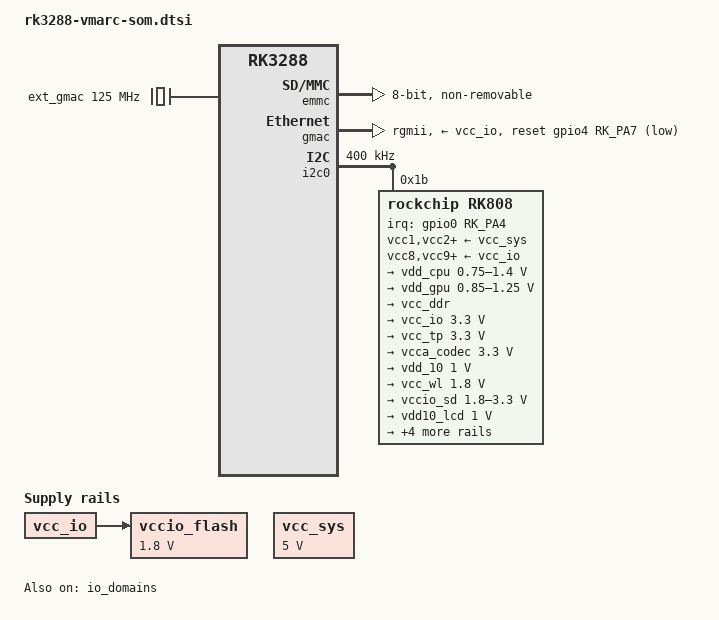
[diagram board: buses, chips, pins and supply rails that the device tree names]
// SPDX-License-Identifier: (GPL-2.0+ OR MIT)
/*
 * Copyright (c) 2019 Fuzhou Rockchip Electronics Co., Ltd
 * Copyright (c) 2019 Vamrs Limited
 * Copyright (c) 2019 Amarula Solutions(India)
 */

#include <dt-bindings/gpio/gpio.h>
#include <dt-bindings/pinctrl/rockchip.h>
#include <dt-bindings/pwm/pwm.h>

/ {
	compatible = "vamrs,rk3288-vmarc-som", "rockchip,rk3288";

	ext_gmac: external-gmac-clock {
		compatible = "fixed-clock";
		clock-frequency = <125000000>;
		clock-output-names = "ext_gmac";
		#clock-cells = <0>;
	};

	vccio_flash: vccio-flash-regulator {
		compatible = "regulator-fixed";
		regulator-name = "vccio_flash";
		regulator-min-microvolt = <1800000>;
		regulator-max-microvolt = <1800000>;
		startup-delay-us = <150>;
		vin-supply = <&vcc_io>;
	};

	vcc_sys: vsys-regulator {
		compatible = "regulator-fixed";
		regulator-name = "vcc_sys";
		regulator-min-microvolt = <5000000>;
		regulator-max-microvolt = <5000000>;
		regulator-always-on;
		regulator-boot-on;
	};
};

&emmc {
	bus-width = <8>;
	cap-mmc-highspeed;
	disable-wp;
	non-removable;
	pinctrl-names = "default";
	pinctrl-0 = <&emmc_clk &emmc_cmd &emmc_pwr &emmc_bus8>;
	status = "okay";
};

&gmac {
	assigned-clocks = <&cru SCLK_MAC>;
	assigned-clock-parents = <&ext_gmac>;
	clock_in_out = "input";
	phy-mode = "rgmii";
	phy-supply = <&vcc_io>;
	pinctrl-names = "default";
	pinctrl-0 = <&rgmii_pins>;
	snps,reset-gpio = <&gpio4 RK_PA7 GPIO_ACTIVE_HIGH>;
	snps,reset-active-low;
	snps,reset-delays-us = <0 10000 50000>;
	tx_delay = <0x30>;
	rx_delay = <0x10>;
	max-speed = <1000>;
};

&i2c0 {
	clock-frequency = <400000>;
	status = "okay";

	rk808: pmic@1b {
		compatible = "rockchip,rk808";
		reg = <0x1b>;
		interrupt-parent = <&gpio0>;
		interrupts = <RK_PA4 IRQ_TYPE_LEVEL_LOW>;
		pinctrl-names = "default";
		pinctrl-0 = <&pmic_int &global_pwroff>;
		rockchip,system-power-controller;
		wakeup-source;
		#clock-cells = <1>;
		clock-output-names = "rk808-clkout1", "rk808-clkout2";

		vcc1-supply = <&vcc_sys>;
		vcc2-supply = <&vcc_sys>;
		vcc3-supply = <&vcc_sys>;
		vcc4-supply = <&vcc_sys>;
		vcc6-supply = <&vcc_sys>;
		vcc7-supply = <&vcc_sys>;
		vcc8-supply = <&vcc_io>;
		vcc9-supply = <&vcc_io>;
		vcc10-supply = <&vcc_sys>;
		vcc11-supply = <&vcc_sys>;
		vcc12-supply = <&vcc_io>;
		vddio-supply = <&vcc_io>;

		regulators {
			vdd_cpu: DCDC_REG1 {
				regulator-always-on;
				regulator-boot-on;
				regulator-min-microvolt = <750000>;
				regulator-max-microvolt = <1400000>;
				regulator-name = "vdd_arm";
				regulator-state-mem {
					regulator-off-in-suspend;
				};
			};

			vdd_gpu: DCDC_REG2 {
				regulator-always-on;
				regulator-boot-on;
				regulator-min-microvolt = <850000>;
				regulator-max-microvolt = <1250000>;
				regulator-name = "vdd_gpu";
				regulator-ramp-delay = <6000>;
				regulator-state-mem {
					regulator-off-in-suspend;
				};
			};

			vcc_ddr: DCDC_REG3 {
				regulator-always-on;
				regulator-boot-on;
				regulator-name = "vcc_ddr";
				regulator-state-mem {
					regulator-on-in-suspend;
				};
			};

			vcc_io: DCDC_REG4 {
				regulator-always-on;
				regulator-boot-on;
				regulator-min-microvolt = <3300000>;
				regulator-max-microvolt = <3300000>;
				regulator-name = "vcc_io";
				regulator-state-mem {
					regulator-on-in-suspend;
					regulator-suspend-microvolt = <3300000>;
				};
			};

			vcc_tp: LDO_REG1 {
				regulator-always-on;
				regulator-boot-on;
				regulator-min-microvolt = <3300000>;
				regulator-max-microvolt = <3300000>;
				regulator-name = "vcc_tp";
				regulator-state-mem {
					regulator-off-in-suspend;
				};
			};

			vcca_codec: LDO_REG2 {
				regulator-always-on;
				regulator-boot-on;
				regulator-min-microvolt = <3300000>;
				regulator-max-microvolt = <3300000>;
				regulator-name = "vcca_codec";
				regulator-state-mem {
					regulator-on-in-suspend;
					regulator-suspend-microvolt = <3300000>;
				};
			};

			vdd_10: LDO_REG3 {
				regulator-always-on;
				regulator-boot-on;
				regulator-min-microvolt = <1000000>;
				regulator-max-microvolt = <1000000>;
				regulator-name = "vdd_10";
				regulator-state-mem {
					regulator-on-in-suspend;
					regulator-suspend-microvolt = <1000000>;
				};
			};

			vcc_wl: LDO_REG4 {
				regulator-always-on;
				regulator-boot-on;
				regulator-min-microvolt = <1800000>;
				regulator-max-microvolt = <1800000>;
				regulator-name = "vcc_wl";
				regulator-state-mem {
					regulator-on-in-suspend;
				};
			};

			vccio_sd: LDO_REG5 {
				regulator-always-on;
				regulator-boot-on;
				regulator-min-microvolt = <1800000>;
				regulator-max-microvolt = <3300000>;
				regulator-name = "vccio_sd";
				regulator-state-mem {
					regulator-on-in-suspend;
					regulator-suspend-microvolt = <3300000>;
				};
			};

			vdd10_lcd: LDO_REG6 {
				regulator-always-on;
				regulator-boot-on;
				regulator-min-microvolt = <1000000>;
				regulator-max-microvolt = <1000000>;
				regulator-name = "vdd10_lcd";
				regulator-state-mem {
					regulator-off-in-suspend;
				};
			};

			vcc_18: LDO_REG7 {
				regulator-always-on;
				regulator-boot-on;
				regulator-min-microvolt = <1800000>;
				regulator-max-microvolt = <1800000>;
				regulator-name = "vcc_18";
				regulator-state-mem {
					regulator-on-in-suspend;
					regulator-suspend-microvolt = <1800000>;
				};
			};

			vcc18_lcd: LDO_REG8 {
				regulator-always-on;
				regulator-boot-on;
				regulator-min-microvolt = <1800000>;
				regulator-max-microvolt = <1800000>;
				regulator-name = "vcc18_lcd";
				regulator-state-mem {
					regulator-off-in-suspend;
				};
			};

			vcc_sd: SWITCH_REG1 {
				regulator-always-on;
				regulator-boot-on;
				regulator-name = "vcc_sd";
				regulator-state-mem {
					regulator-off-in-suspend;
				};
			};

			vcc_lcd: SWITCH_REG2 {
				regulator-always-on;
				regulator-boot-on;
				regulator-name = "vcc_lcd";
				regulator-state-mem {
					regulator-off-in-suspend;
				};
			};
		};
	};
};

&io_domains {
	bb-supply = <&vcc_io>;
	flash0-supply = <&vccio_flash>;
	gpio1830-supply = <&vcc_18>;
	gpio30-supply = <&vcc_io>;
	sdcard-supply = <&vccio_sd>;
	status = "okay";
};

&pinctrl {
	pcfg_pull_none_drv_8ma: pcfg-pull-none-drv-8ma {
		drive-strength = <8>;
	};

	pcfg_pull_up_drv_8ma: pcfg-pull-up-drv-8ma {
		bias-pull-up;
		drive-strength = <8>;
	};

	pmic {
		pmic_int: pmic-int {
			rockchip,pins = <0 RK_PA4 RK_FUNC_GPIO &pcfg_pull_up>;
		};
	};

	sdmmc {
		sdmmc_bus4: sdmmc-bus4 {
			rockchip,pins =
				<6 RK_PC0 1 &pcfg_pull_up_drv_8ma>,
				<6 RK_PC1 1 &pcfg_pull_up_drv_8ma>,
				<6 RK_PC2 1 &pcfg_pull_up_drv_8ma>,
				<6 RK_PC3 1 &pcfg_pull_up_drv_8ma>;
		};

		sdmmc_clk: sdmmc-clk {
			rockchip,pins =
				<6 RK_PC4 1 &pcfg_pull_none_drv_8ma>;
		};

		sdmmc_cmd: sdmmc-cmd {
			rockchip,pins =
				<6 RK_PC5 1 &pcfg_pull_up_drv_8ma>;
		};
	};
};
